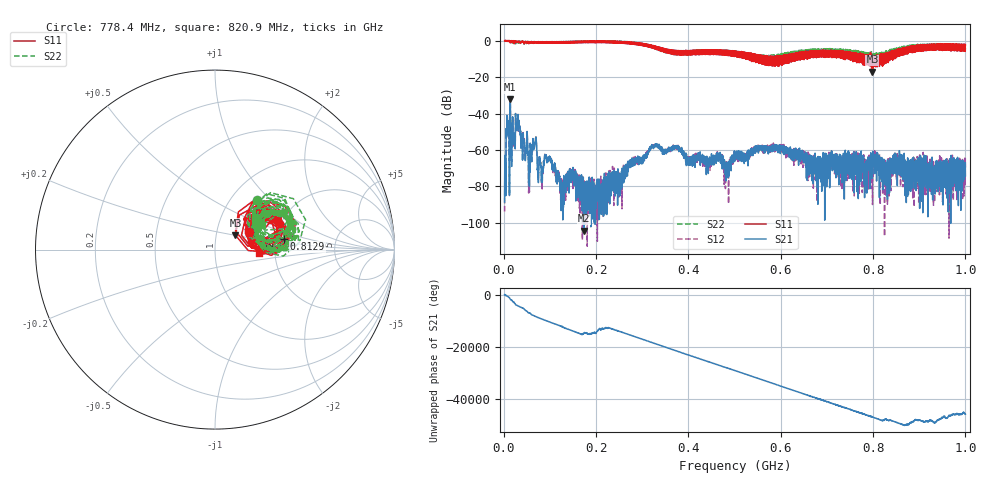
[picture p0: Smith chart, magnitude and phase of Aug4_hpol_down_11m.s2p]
!Keysight Technologies N9923A: A.12.45
!Date: Tuesday, 05 August 2025 18:09:35
!Timezone: (UTC+08:00) Kuala Lumpur, Singapore
!Model: N9923A
!Serial: MY61181427
!GPS Latitude:
!GPS Longitude:
!GPS TimeStamp: 0001-01-01 00:00:00Z
!GPS Seconds Since Last Read: 0
!CHECKSUM:1449823385
!Correction: S11(ON U)S21(ON U)S12(ON U)S22(ON U)
!S2P File: Measurements:S11,S21,S12,S22:
# Hz S DB R 50
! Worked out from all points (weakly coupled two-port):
!   4001 points, 2 MHz to 1 GHz, reference 50 ohm
!   highest |S21| = -32.23 dB at 14.23 MHz (marker M1); lowest = -104.3 dB at 174.2 MHz (marker M2)
!   lowest |S11| = -17.1 dB at 798.7 MHz (marker M3), VSWR 1.32, Z = 61.9 + j10.2 ohm
!   |S11| at or under -10 dB: 555.6238 MHz to 556.4244 MHz (800.6 kHz wide, 0.144 % of centre); 562.3393 MHz to 563.2087 MHz (869.4 kHz wide, 0.154 % of centre); 563.9937 MHz to 564.8917 MHz (898 kHz wide, 0.159 % of centre)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
!   |S22| runs from -13.9 to 0.1 dB; largest |S21 - S12| = 0.0012
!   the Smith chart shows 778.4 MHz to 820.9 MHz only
!   S11 on the Smith chart (normalised r, x): 778.4 MHz: 1.44, +0.30; 812.9 MHz: 2.22, +0.31; 820.9 MHz: 1.64, -0.08
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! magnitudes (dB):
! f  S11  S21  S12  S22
! 2 MHz  -0.1  -88.4  -93.8  -0.1
! 9.984 MHz  -0.1  -44.0  -44.0  0.1
! 14.23 MHz  -1.3  -32.2  -32.1  -1.1
! 30.44 MHz  -0.5  -44.2  -44.0  -0.4
! 50.9 MHz  -1.3  -50.7  -50.6  -1.1
! 67.62 MHz  -1.2  -56.5  -56.0  -1.2
! 78.6 MHz  -0.7  -64.5  -64.7  -0.7
! 95.56 MHz  -0.7  -65.3  -65.8  -0.6
! 126.8 MHz  -1.2  -87.1  -77.6  -1.1
! 168.4 MHz  -1.2  -73.6  -75.9  -1.0
! 174.2 MHz  -0.4  -104.3  -87.9  -0.4
! 334.8 MHz  -4.3  -58.7  -57.8  -5.0
! 482.5 MHz  -5.7  -72.6  -70.4  -6.6
! 501 MHz  -6.4  -62.6  -62.2  -7.4
! 589.6 MHz  -12.6  -59.1  -59.7  -8.8
! 667.4 MHz  -8.7  -74.2  -65.3  -7.7
! 778.4 MHz  -13.3  -72.1  -63.1  -8.8
! 798.7 MHz  -17.1  -73.7  -72.8  -8.5
! 812.9 MHz  -8.2  -69.6  -66.0  -9.9
! 820.9 MHz  -12.2  -68.9  -83.6  -10.7
! 833.8 MHz  -8.8  -67.4  -80.9  -5.5
! 1 GHz  -2.1  -74.2  -69.7  -4.0
